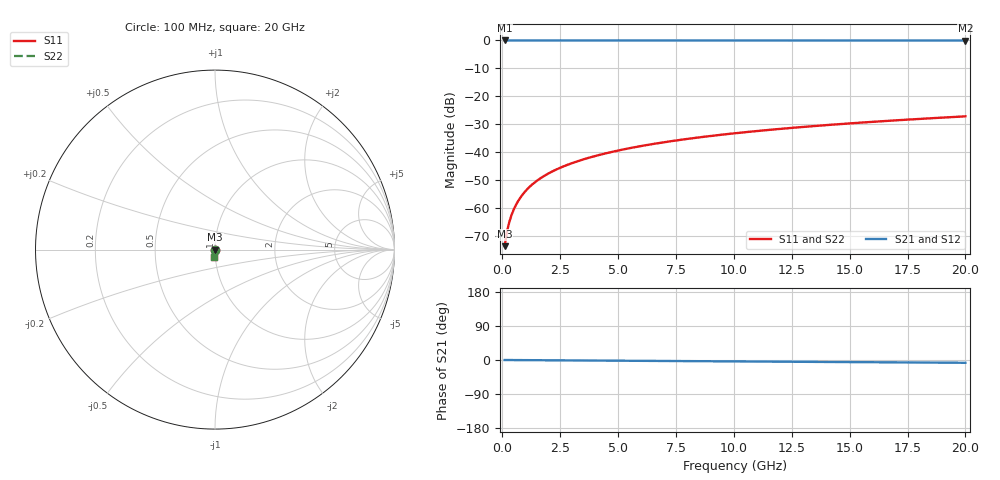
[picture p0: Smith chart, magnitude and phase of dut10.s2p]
! Touchstone file exported from HFSS 2026.1.0
!  File:  C:/ffzhzh/LocalFiles/Ansys_Project_Files/temp_val_TSV_10_1782974930_45568.aedt
!  Generated:  02:50:05 PM Jul  2, 2026
!  Design:  TSV
!  Project:  temp_val_TSV_10_1782974930_45568
! Variables:
!  h_bsmrdl = 2um
!  h_ox = 20um
!  h_rdl = 5um
!  h_sub = 72.22um
!  h_tmrdl = 5um
!  h_tsv = 72.22um
!  h_via = 3um
!  l_bsmrdl = 300um
!  l_sub = 422.06um
!  l_tmrdl = 200um
!  m_sub = 200um
!  pitch = 32.7um
!  r_tsv = 11.03um
!  s_tmrdl = 10um
!  w_bsmrdl = 18um
!  w_sub = 500um
!  w_tmrdl = 12um
!  x_tsv_center1 = 206um
!  x_tsv_center2 = 524um
!  x_tsv_center3 = 736um
!  x_tsv_center4 = 1054um
!  x_tsv_center5 = 1266um
!  x_tsv_center6 = 1584um
# GHz S MA R 50.000000
! Terminal data exported
! Port[1] = TSV1_1_T1
! Port[2] = TSV1_1_T2
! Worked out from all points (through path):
!   200 points, 100 MHz to 20 GHz, reference 50 ohm
!   highest |S21| = 0.00 dB at 100 MHz (marker M1); lowest = 0.0 dB at 20 GHz (marker M2)
!   group delay of S21, straight-line fit = 1.02 ps
!   lowest |S11| = -73.8 dB at 100 MHz (marker M3), VSWR 1.00, Z = 50 - j0.0172 ohm
!   |S11| at or under -10 dB: start of sweep to end of sweep
!   |S22| runs from -73.8 to -27.2 dB; largest |S21 - S12| = 3.6e-15
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0.1  0.0002041 -57.6  0.9999 -0.0  0.9999 -0.0  0.0002041 -57.6
! Gamma 0 0 0 0
! Port Impedance 50 0 50 0
0.2  0.0003695 -70.5  0.9999 -0.1  0.9999 -0.1  0.0003695 -70.5
0.3  0.0005499 -74.8  0.9999 -0.1  0.9999 -0.1  0.0005499 -74.8
0.4  0.0007398 -76.9  0.9998 -0.2  0.9998 -0.2  0.0007398 -76.9
0.5  0.0009372 -78.2  0.9998 -0.2  0.9998 -0.2  0.0009372 -78.2
0.7  0.001348 -79.9  0.9998 -0.3  0.9998 -0.3  0.001348 -79.9
0.8  0.001558 -80.5  0.9997 -0.3  0.9997 -0.3  0.001558 -80.5
1  0.001983 -81.7  0.9997 -0.4  0.9997 -0.4  0.001983 -81.7
1.2  0.002411 -82.7  0.9997 -0.5  0.9997 -0.5  0.002411 -82.7
1.4  0.00284 -83.4  0.9996 -0.5  0.9996 -0.5  0.00284 -83.4
1.7  0.003483 -84.4  0.9996 -0.6  0.9996 -0.6  0.003483 -84.4
2  0.004127 -85.1  0.9996 -0.8  0.9996 -0.8  0.004127 -85.1
2.7  0.005629 -86.4  0.9995 -1.0  0.9995 -1.0  0.005629 -86.4
3.5  0.007351 -87.3  0.9995 -1.3  0.9995 -1.3  0.007351 -87.3
4.2  0.008863 -87.9  0.9994 -1.6  0.9994 -1.6  0.008863 -87.9
5  0.0106 -88.5  0.9993 -1.9  0.9993 -1.9  0.0106 -88.5
6.8  0.01452 -89.7  0.9992 -2.5  0.9992 -2.5  0.01452 -89.7
8.3  0.01781 -90.5  0.999 -3.1  0.999 -3.1  0.01781 -90.5
10.1  0.02176 -91.4  0.9989 -3.7  0.9989 -3.7  0.02176 -91.4
13.4  0.029 -92.9  0.9986 -4.9  0.9986 -4.9  0.029 -92.9
16.7  0.03624 -94.4  0.9982 -6.2  0.9982 -6.2  0.03624 -94.4
20  0.04349 -95.7  0.9978 -7.4  0.9978 -7.4  0.04349 -95.7
